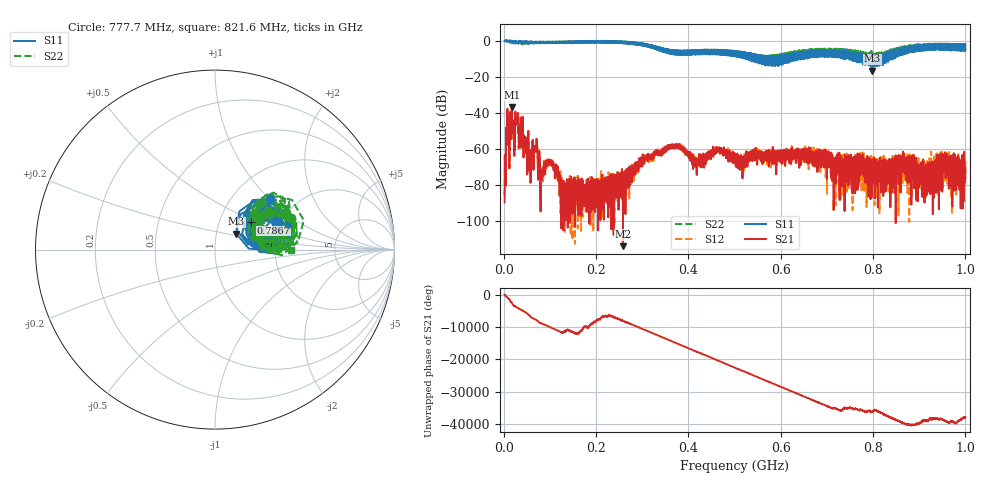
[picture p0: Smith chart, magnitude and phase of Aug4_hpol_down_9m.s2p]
!Keysight Technologies N9923A: A.12.45
!Date: Tuesday, 05 August 2025 18:07:05
!Timezone: (UTC+08:00) Kuala Lumpur, Singapore
!Model: N9923A
!Serial: MY61181427
!GPS Latitude:
!GPS Longitude:
!GPS TimeStamp: 0001-01-01 00:00:00Z
!GPS Seconds Since Last Read: 0
!CHECKSUM:1503813481
!Correction: S11(ON U)S21(ON U)S12(ON U)S22(ON U)
!S2P File: Measurements:S11,S21,S12,S22:
# Hz S DB R 50
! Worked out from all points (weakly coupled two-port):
!   4001 points, 2 MHz to 1 GHz, reference 50 ohm
!   highest |S21| = -36.76 dB at 17.72 MHz (marker M1); lowest = -113.8 dB at 258.2 MHz (marker M2)
!   lowest |S11| = -16.6 dB at 798.7 MHz (marker M3), VSWR 1.35, Z = 62.3 + j11.3 ohm
!   |S11| at or under -10 dB: 555.6096 MHz to 556.4508 MHz (841.2 kHz wide, 0.151 % of centre); 562.3208 MHz to 563.2335 MHz (912.7 kHz wide, 0.162 % of centre); 563.9816 MHz to 564.922 MHz (940.3 kHz wide, 0.167 % of centre)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
!   |S22| runs from -13.9 to 0.1 dB; largest |S21 - S12| = 0.0012
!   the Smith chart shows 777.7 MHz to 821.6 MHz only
!   S11 on the Smith chart (normalised r, x): 777.7 MHz: 1.47, +1.00; 786.7 MHz: 1.41, +0.46; 821.6 MHz: 2.19, +0.76
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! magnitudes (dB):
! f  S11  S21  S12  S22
! 2 MHz  -0.1  -89.6  -85.5  -0.1
! 9.984 MHz  -0.1  -41.8  -41.9  0.0
! 17.72 MHz  -0.7  -36.8  -36.7  -1.4
! 32.44 MHz  -0.8  -54.3  -54.0  -1.7
! 55.14 MHz  -0.7  -68.2  -68.6  -1.0
! 67.62 MHz  -1.3  -60.9  -61.1  -1.1
! 83.84 MHz  -0.7  -72.5  -71.1  -0.8
! 101.8 MHz  -1.0  -66.9  -65.6  -0.8
! 128 MHz  -1.3  -93.0  -79.1  -1.1
! 168.4 MHz  -1.2  -83.2  -78.6  -1.0
! 258.2 MHz  -0.6  -113.8  -88.8  -0.5
! 334.8 MHz  -4.3  -62.8  -61.9  -5.0
! 501 MHz  -6.5  -65.5  -63.5  -7.3
! 667.4 MHz  -8.6  -62.3  -63.5  -7.7
! 730 MHz  -6.7  -69.8  -65.2  -7.6
! 777.7 MHz  -7.6  -65.9  -82.7  -6.8
! 786.7 MHz  -12.0  -69.4  -70.3  -7.6
! 798.7 MHz  -16.6  -67.2  -68.4  -8.6
! 821.6 MHz  -7.3  -70.2  -85.4  -7.5
! 833.8 MHz  -8.6  -70.0  -75.2  -5.6
! 960.6 MHz  -4.9  -71.6  -70.3  -3.7
! 1 GHz  -2.1  -71.7  -77.0  -4.0
